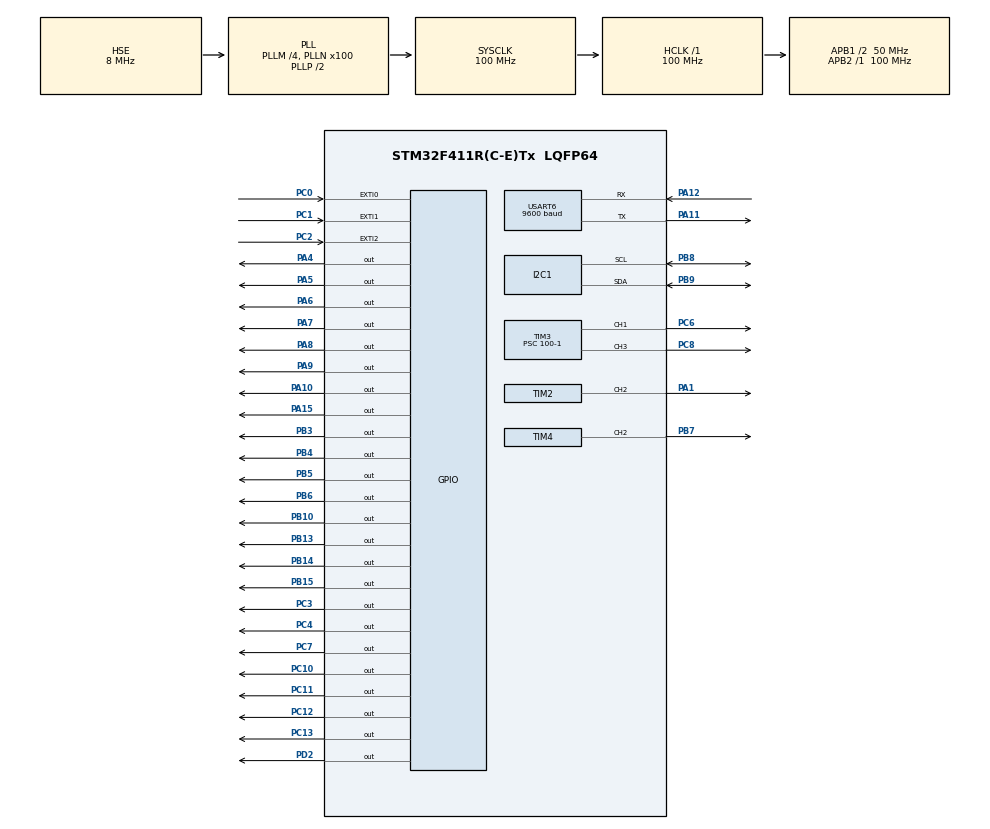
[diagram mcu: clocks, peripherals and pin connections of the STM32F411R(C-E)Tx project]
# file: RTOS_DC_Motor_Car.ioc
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Dma.Request0=USART6_RX
Dma.USART6_RX.0.Direction=DMA_PERIPH_TO_MEMORY
Dma.USART6_RX.0.FIFOMode=DMA_FIFOMODE_DISABLE
Dma.USART6_RX.0.Instance=DMA2_Stream1
Dma.USART6_RX.0.MemDataAlignment=DMA_MDATAALIGN_BYTE
Dma.USART6_RX.0.MemInc=DMA_MINC_ENABLE
Dma.USART6_RX.0.Mode=DMA_CIRCULAR
Dma.USART6_RX.0.PeriphDataAlignment=DMA_PDATAALIGN_BYTE
Dma.USART6_RX.0.PeriphInc=DMA_PINC_DISABLE
Dma.USART6_RX.0.Priority=DMA_PRIORITY_HIGH
FREERTOS.Mutexes01=lcdMutex,Dynamic,NULL,Available
FREERTOS.Queues01=commQue,16,uint32_t,0,Dynamic,NULL,NULL
FREERTOS.Tasks01=defaultTask,0,128,StartDefaultTask,Default,NULL,Dynamic,NULL,NULL;CommTask,0,128,StartCommTask,Default,NULL,Dynamic,NULL,NULL;MotorTask,0,128,StartMotorTask,Default,NULL,Dynamic,NULL,NULL;SoundTask,0,128,StartSoundTask,Default,NULL,Dynamic,NULL,NULL;FNDTask,0,128,StartFNDTask,Default,NULL,Dynamic,NULL,NULL;TimeTask,0,128,StartTimeTask,Default,NULL,Dynamic,NULL,NULL;TempHumidTask,0,128,StartTempHumidTask,Default,NULL,Dynamic,NULL,NULL;DistanceTask,0,128,DistanceStartTask,Default,NULL,Dynamic,NULL,NULL;LcdTask,0,128,StartLcdTask,Default,NULL,Dynamic,NULL,NULL
FREERTOS.configUSE_NEWLIB_REENTRANT=1
Mcu.Family=STM32F4
Mcu.Name=STM32F411R(C-E)Tx
Mcu.Package=LQFP64
NVIC.DMA2_Stream1_IRQn=true\:5\:0\:false\:false\:true\:false\:false\:true\:true
NVIC.EXTI0_IRQn=true\:5\:0\:false\:false\:true\:false\:false\:true\:true
NVIC.EXTI1_IRQn=true\:5\:0\:false\:false\:true\:false\:false\:true\:true
NVIC.EXTI2_IRQn=true\:5\:0\:false\:false\:true\:false\:false\:true\:true
NVIC.PriorityGroup=NVIC_PRIORITYGROUP_4
NVIC.TIM1_UP_TIM10_IRQn=true\:5\:0\:false\:false\:true\:false\:false\:true\:true
NVIC.TimeBase=TIM1_UP_TIM10_IRQn
NVIC.TimeBaseIP=TIM10
NVIC.USART6_IRQn=true\:5\:0\:false\:false\:true\:true\:true\:true\:true
PA1.Signal=S_TIM2_CH2
PA10.Signal=GPIO_Output
PA11.Mode=Asynchronous
PA11.Signal=USART6_TX
PA12.Mode=Asynchronous
PA12.Signal=USART6_RX
PA13.Mode=Serial_Wire
PA13.Signal=SYS_JTMS-SWDIO
PA14.Mode=Serial_Wire
PA14.Signal=SYS_JTCK-SWCLK
PA15.Signal=GPIO_Output
PA4.Signal=GPIO_Output
PA5.Signal=GPIO_Output
PA6.Signal=GPIO_Output
PA7.Signal=GPIO_Output
PA8.Signal=GPIO_Output
PA9.Signal=GPIO_Output
PB10.Signal=GPIO_Output
PB13.Signal=GPIO_Output
PB14.Signal=GPIO_Output
PB15.Signal=GPIO_Output
PB3.Signal=GPIO_Output
PB4.Signal=GPIO_Output
PB5.Signal=GPIO_Output
PB6.Signal=GPIO_Output
PB7.Signal=S_TIM4_CH2
PB8.Mode=I2C
PB8.Signal=I2C1_SCL
PB9.Mode=I2C
PB9.Signal=I2C1_SDA
PC0.GPIO_ModeDefaultEXTI=GPIO_MODE_IT_RISING_FALLING
PC0.Signal=GPXTI0
PC1.GPIO_ModeDefaultEXTI=GPIO_MODE_IT_RISING_FALLING
PC1.Signal=GPXTI1
PC10.Signal=GPIO_Output
PC11.Signal=GPIO_Output
PC12.Signal=GPIO_Output
PC13-ANTI_TAMP.Signal=GPIO_Output
PC2.GPIO_ModeDefaultEXTI=GPIO_MODE_IT_RISING_FALLING
PC2.Signal=GPXTI2
PC3.Signal=GPIO_Output
PC4.Signal=GPIO_Output
PC6.Signal=S_TIM3_CH1
PC7.Signal=GPIO_Output
PC8.Signal=S_TIM3_CH3
PD2.Signal=GPIO_Output
PH0\ -\ OSC_IN.Mode=HSE-External-Oscillator
PH0\ -\ OSC_IN.Signal=RCC_OSC_IN
PH1\ -\ OSC_OUT.Mode=HSE-External-Oscillator
PH1\ -\ OSC_OUT.Signal=RCC_OSC_OUT
ProjectManager.HeapSize=0x200
ProjectManager.StackSize=0x400
ProjectManager.TargetToolchain=STM32CubeIDE
RCC.48MHZClocksFreq_Value=50000000
RCC.AHBFreq_Value=100000000
RCC.APB1CLKDivider=RCC_HCLK_DIV2
RCC.APB1Freq_Value=50000000
RCC.APB1TimFreq_Value=100000000
RCC.APB2Freq_Value=100000000
RCC.APB2TimFreq_Value=100000000
RCC.CortexFreq_Value=100000000
RCC.HCLKFreq_Value=100000000
RCC.HSE_VALUE=8000000
RCC.HSI_VALUE=16000000
RCC.LSE_VALUE=32768
RCC.PLLM=4
RCC.PLLN=100
RCC.PLLSourceVirtual=RCC_PLLSOURCE_HSE
RCC.SYSCLKFreq_VALUE=100000000
RCC.SYSCLKSource=RCC_SYSCLKSOURCE_PLLCLK
RCC.VCOOutputFreq_Value=200000000
SH.S_TIM2_CH2.0=TIM2_CH2,PWM Generation2 CH2
SH.S_TIM3_CH1.0=TIM3_CH1,PWM Generation1 CH1
SH.S_TIM3_CH3.0=TIM3_CH3,PWM Generation3 CH3
SH.S_TIM4_CH2.0=TIM4_CH2,PWM Generation2 CH2
TIM2.AutoReloadPreload=TIM_AUTORELOAD_PRELOAD_ENABLE
TIM2.Channel-PWM\ Generation2\ CH2=TIM_CHANNEL_2
TIM2.Period=1000-1
TIM2.Prescaler=100-1
TIM3.AutoReloadPreload=TIM_AUTORELOAD_PRELOAD_ENABLE
TIM3.Channel-PWM\ Generation1\ CH1=TIM_CHANNEL_1
TIM3.Channel-PWM\ Generation3\ CH3=TIM_CHANNEL_3
TIM3.Period=1000-1
TIM3.Prescaler=100-1
TIM4.AutoReloadPreload=TIM_AUTORELOAD_PRELOAD_ENABLE
TIM4.Channel-PWM\ Generation2\ CH2=TIM_CHANNEL_2
TIM4.Period=1000-1
TIM4.Prescaler=100-1
TIM5.Period=4294967295
TIM5.Prescaler=100-1
USART6.BaudRate=9600
USART6.VirtualMode=VM_ASYNC
VP_FREERTOS_VS_CMSIS_V1.Mode=CMSIS_V1
VP_SYS_VS_tim10.Mode=TIM10
VP_TIM2_VS_ClockSourceINT.Mode=Internal
VP_TIM3_VS_ClockSourceINT.Mode=Internal
VP_TIM4_VS_ClockSourceINT.Mode=Internal
VP_TIM5_VS_ClockSourceINT.Mode=Internal
board=custom

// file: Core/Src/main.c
/* USER CODE BEGIN Header */
/**
  ******************************************************************************
  * @file           : main.c
  * @brief          : Main program body
  ******************************************************************************
  * @attention
  *
  * Copyright (c) 2026 STMicroelectronics.
  * All rights reserved.
  *
  * This software is licensed under terms that can be found in the LICENSE file
  * in the root directory of this software component.
  * If no LICENSE file comes with this software, it is provided AS-IS.
  *
  ******************************************************************************
  */
/* USER CODE END Header */
#include "main.h"
#include "cmsis_os.h"
#include "dma.h"
#include "i2c.h"
#include "tim.h"
#include "usart.h"
#include "gpio.h"

void SystemClock_Config(void);
void MX_FREERTOS_Init(void);

int main(void)
{

  /* MCU Configuration--------------------------------------------------------*/

  /* Reset of all peripherals, Initializes the Flash interface and the Systick. */
  HAL_Init();

  /* Configure the system clock */
  SystemClock_Config();

  /* Initialize all configured peripherals */
  MX_GPIO_Init();
  MX_DMA_Init();
  MX_TIM2_Init();
  MX_TIM4_Init();
  MX_I2C1_Init();
  MX_TIM3_Init();
  MX_USART6_UART_Init();
  MX_TIM5_Init();

  /* Call init function for freertos objects (in cmsis_os2.c) */
  MX_FREERTOS_Init();

  /* Start scheduler */
  osKernelStart();

  /* We should never get here as control is now taken by the scheduler */

  /* Infinite loop */
  while (1)
  {

  }
}

void SystemClock_Config(void)
{
  RCC_OscInitTypeDef RCC_OscInitStruct = {0};
  RCC_ClkInitTypeDef RCC_ClkInitStruct = {0};

  /** Configure the main internal regulator output voltage
  */
  __HAL_RCC_PWR_CLK_ENABLE();
  __HAL_PWR_VOLTAGESCALING_CONFIG(PWR_REGULATOR_VOLTAGE_SCALE1);

  /** Initializes the RCC Oscillators according to the specified parameters
  * in the RCC_OscInitTypeDef structure.
  */
  RCC_OscInitStruct.OscillatorType = RCC_OSCILLATORTYPE_HSE;
  RCC_OscInitStruct.HSEState = RCC_HSE_ON;
  RCC_OscInitStruct.PLL.PLLState = RCC_PLL_ON;
  RCC_OscInitStruct.PLL.PLLSource = RCC_PLLSOURCE_HSE;
  RCC_OscInitStruct.PLL.PLLM = 4;
  RCC_OscInitStruct.PLL.PLLN = 100;
  RCC_OscInitStruct.PLL.PLLP = RCC_PLLP_DIV2;
  RCC_OscInitStruct.PLL.PLLQ = 4;
  if (HAL_RCC_OscConfig(&RCC_OscInitStruct) != HAL_OK)
  {
    Error_Handler();
  }

  /** Initializes the CPU, AHB and APB buses clocks
  */
  RCC_ClkInitStruct.ClockType = RCC_CLOCKTYPE_HCLK|RCC_CLOCKTYPE_SYSCLK
                              |RCC_CLOCKTYPE_PCLK1|RCC_CLOCKTYPE_PCLK2;
  RCC_ClkInitStruct.SYSCLKSource = RCC_SYSCLKSOURCE_PLLCLK;
  RCC_ClkInitStruct.AHBCLKDivider = RCC_SYSCLK_DIV1;
  RCC_ClkInitStruct.APB1CLKDivider = RCC_HCLK_DIV2;
  RCC_ClkInitStruct.APB2CLKDivider = RCC_HCLK_DIV1;

  if (HAL_RCC_ClockConfig(&RCC_ClkInitStruct, FLASH_LATENCY_3) != HAL_OK)
  {
    Error_Handler();
  }
}

void HAL_TIM_PeriodElapsedCallback(TIM_HandleTypeDef *htim)
{
  if (htim->Instance == TIM10)
  {
    HAL_IncTick();
  }
}

void Error_Handler(void)
{
  __disable_irq();
  while (1)
  {
  }
}

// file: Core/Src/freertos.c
/* USER CODE BEGIN Header */
/**
 ******************************************************************************
 * File Name          : freertos.c
 * Description        : Code for freertos applications
 ******************************************************************************
 * @attention
 *
 * Copyright (c) 2026 STMicroelectronics.
 * All rights reserved.
 *
 * This software is licensed under terms that can be found in the LICENSE file
 * in the root directory of this software component.
 * If no LICENSE file comes with this software, it is provided AS-IS.
 *
 ******************************************************************************
 */
/* USER CODE END Header */

#include "FreeRTOS.h"
#include "task.h"
#include "main.h"
#include "cmsis_os.h"

/* USER CODE BEGIN Includes */
#include "ap/task/comm_task/comm_task.h"
#include "ap/task/motor_control_task/motor_control_task.h"
#include "ap/task/sound_task/sound_task.h"
#include "ap/task/fnd_task/fnd_task.h"
#include "ap/task/distance_task/distance_task.h"
#include "ap/task/time_task/time_task.h"
#include "ap/task/temp_humid_task/temp_humid_task.h"
#include "ap/task/lcd_task/lcd_task.h"
/* USER CODE END Includes */

osThreadId defaultTaskHandle;
osThreadId CommTaskHandle;
osThreadId MotorTaskHandle;
osThreadId SoundTaskHandle;
osThreadId FNDTaskHandle;
osThreadId TimeTaskHandle;
osThreadId TempHumidTaskHandle;
osThreadId DistanceTaskHandle;
osThreadId LcdTaskHandle;
osMessageQId commQueHandle;
osMutexId lcdMutexHandle;

void StartDefaultTask(void const * argument);
void StartCommTask(void const * argument);
void StartMotorTask(void const * argument);
void StartSoundTask(void const * argument);
void StartFNDTask(void const * argument);
void StartTimeTask(void const * argument);
void StartTempHumidTask(void const * argument);
void DistanceStartTask(void const * argument);
void StartLcdTask(void const * argument);

void MX_FREERTOS_Init(void); /* (MISRA C 2004 rule 8.1) */

/* GetIdleTaskMemory prototype (linked to static allocation support) */
void vApplicationGetIdleTaskMemory( StaticTask_t **ppxIdleTaskTCBBuffer, StackType_t **ppxIdleTaskStackBuffer, uint32_t *pulIdleTaskStackSize );

/* USER CODE BEGIN GET_IDLE_TASK_MEMORY */
static StaticTask_t xIdleTaskTCBBuffer;
static StackType_t xIdleStack[configMINIMAL_STACK_SIZE];

void vApplicationGetIdleTaskMemory( StaticTask_t **ppxIdleTaskTCBBuffer, StackType_t **ppxIdleTaskStackBuffer, uint32_t *pulIdleTaskStackSize )
{
	*ppxIdleTaskTCBBuffer = &xIdleTaskTCBBuffer;
	*ppxIdleTaskStackBuffer = &xIdleStack[0];
	*pulIdleTaskStackSize = configMINIMAL_STACK_SIZE;
	/* place for user code */
}
/* USER CODE END GET_IDLE_TASK_MEMORY */

void MX_FREERTOS_Init(void) {
	/* Create the mutex(es) */
	/* definition and creation of lcdMutex */
	osMutexDef(lcdMutex);
	lcdMutexHandle = osMutexCreate(osMutex(lcdMutex));

	/* Create the queue(s) */
	/* definition and creation of commQue */
	osMessageQDef(commQue, 16, uint32_t);
	commQueHandle = osMessageCreate(osMessageQ(commQue), NULL);

	/* USER CODE BEGIN RTOS_QUEUES */
	/* add queues, ... */
	if (!comm_mailbox_init() || lcdMutexHandle == NULL) Error_Handler();
	/* USER CODE END RTOS_QUEUES */

	/* Create the thread(s) */
	/* definition and creation of defaultTask */
	osThreadDef(defaultTask, StartDefaultTask, osPriorityNormal, 0, 128);
	defaultTaskHandle = osThreadCreate(osThread(defaultTask), NULL);

	/* definition and creation of CommTask */
	osThreadDef(CommTask, StartCommTask, osPriorityNormal, 0, 128);
	CommTaskHandle = osThreadCreate(osThread(CommTask), NULL);

	/* definition and creation of MotorTask */
	osThreadDef(MotorTask, StartMotorTask, osPriorityNormal, 0, 128);
	MotorTaskHandle = osThreadCreate(osThread(MotorTask), NULL);

	/* definition and creation of SoundTask */
	osThreadDef(SoundTask, StartSoundTask, osPriorityNormal, 0, 128);
	SoundTaskHandle = osThreadCreate(osThread(SoundTask), NULL);

	/* definition and creation of FNDTask */
	osThreadDef(FNDTask, StartFNDTask, osPriorityNormal, 0, 128);
	FNDTaskHandle = osThreadCreate(osThread(FNDTask), NULL);

	/* definition and creation of TimeTask */
	osThreadDef(TimeTask, StartTimeTask, osPriorityNormal, 0, 128);
	TimeTaskHandle = osThreadCreate(osThread(TimeTask), NULL);

	/* definition and creation of TempHumidTask */
	osThreadDef(TempHumidTask, StartTempHumidTask, osPriorityNormal, 0, 128);
	TempHumidTaskHandle = osThreadCreate(osThread(TempHumidTask), NULL);

	/* definition and creation of DistanceTask */
	osThreadDef(DistanceTask, DistanceStartTask, osPriorityNormal, 0, 128);
	DistanceTaskHandle = osThreadCreate(osThread(DistanceTask), NULL);

	/* definition and creation of LcdTask */
	osThreadDef(LcdTask, StartLcdTask, osPriorityNormal, 0, 128);
	LcdTaskHandle = osThreadCreate(osThread(LcdTask), NULL);

}

void StartDefaultTask(void const * argument)
{
	for(;;)
	{
		osDelay(1);
	}
}

void StartCommTask(void const * argument)
{
	/* USER CODE BEGIN StartCommTask */
	comm_task_init();
	/* Infinite loop */
	for(;;)
	{
		comm_task();
		osDelay(1);
	}
	/* USER CODE END StartCommTask */
}

void StartMotorTask(void const * argument)
{
	/* USER CODE BEGIN StartMotorTask */
	motor_control_task_init();
	/* Infinite loop */
	for(;;)
	{
		motor_control_task_init();
		osDelay(1);
	}
	/* USER CODE END StartMotorTask */
}

void StartSoundTask(void const * argument)
{
	/* USER CODE BEGIN StartSoundTask */
	sound_task_init();
	/* Infinite loop */
	for(;;)
	{
		sound_task();
		osDelay(1);
	}
	/* USER CODE END StartSoundTask */
}

void StartFNDTask(void const * argument)
{
	/* USER CODE BEGIN StartFNDTask */
	fnd_task_init();
	/* Infinite loop */
	for(;;)
	{
		fnd_task();
		osDelay(1);
	}
	/* USER CODE END StartFNDTask */
}

void StartTimeTask(void const * argument)
{
	/* USER CODE BEGIN StartTimeTask */
	time_task_init();
	/* Infinite loop */
	for(;;)
	{
		time_task();
		osDelay(1);
	}
	/* USER CODE END StartTimeTask */
}

void StartTempHumidTask(void const * argument)
{
	/* USER CODE BEGIN StartTempHumidTask */
	temp_humid_task_init();
	/* Infinite loop */
	for(;;)
	{
		temp_humid_task();
		osDelay(1);
	}
	/* USER CODE END StartTempHumidTask */
}

void DistanceStartTask(void const * argument)
{
	/* USER CODE BEGIN DistanceStartTask */
	distance_task_init();
	/* Infinite loop */
	for(;;)
	{
		distance_task();
		osDelay(1);
	}
	/* USER CODE END DistanceStartTask */
}

void StartLcdTask(void const * argument)
{
	/* USER CODE BEGIN StartLcdTask */
	lcd_task_init();
	/* Infinite loop */
	for(;;)
	{
		lcd_task();
		osDelay(1);
	}
	/* USER CODE END StartLcdTask */
}
